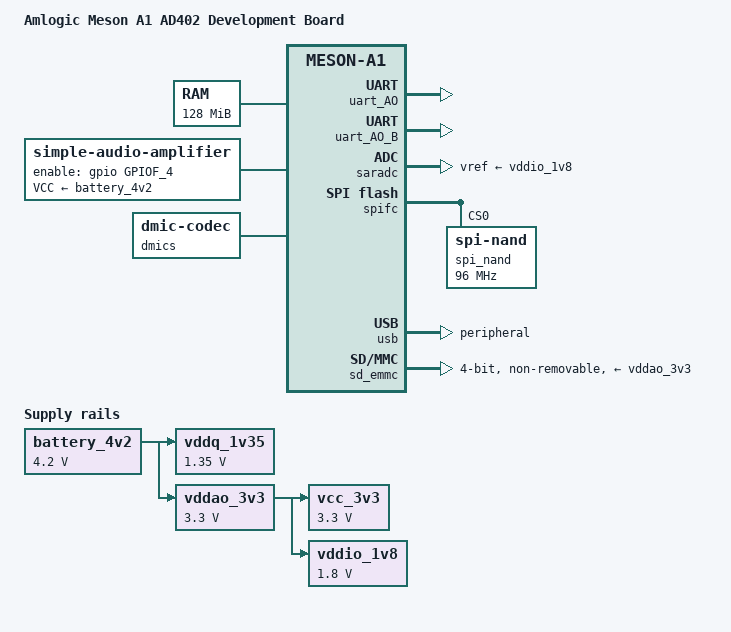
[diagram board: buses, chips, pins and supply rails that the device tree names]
// SPDX-License-Identifier: (GPL-2.0+ OR MIT)
/*
 * Copyright (c) 2023 SberDevices
 * Author: Dmitry Rokosov <ddrokosov@sberdevices.ru>
 */

/dts-v1/;

#include "meson-a1.dtsi"

#include <dt-bindings/gpio/gpio.h>

/ {
	compatible = "amlogic,ad402", "amlogic,a1";
	model = "Amlogic Meson A1 AD402 Development Board";

	aliases {
		serial0 = &uart_AO_B;
	};

	chosen {
		stdout-path = "serial0:115200n8";
	};

	memory@0 {
		device_type = "memory";
		reg = <0x0 0x0 0x0 0x8000000>;
	};

	reserved-memory {
		/* 3 MiB reserved for Amlogic Trust OS (BL32) */
		secos_reserved: secos@3d00000 {
			reg = <0x0 0x03d00000 0x0 0x300000>;
			no-map;
		};
	};

	firmware {
		optee {
			compatible = "linaro,optee-tz";
			method = "smc";
		};
	};

	battery_4v2: regulator-battery-4v2 {
		compatible = "regulator-fixed";
		regulator-name = "4V2";
		regulator-min-microvolt = <4200000>;
		regulator-max-microvolt = <4200000>;
		regulator-always-on;
	};

	vddq_1v35: regulator-vddq-1v35 {
		compatible = "regulator-fixed";
		regulator-name = "VDDQ_1V35";
		regulator-min-microvolt = <1350000>;
		regulator-max-microvolt = <1350000>;
		vin-supply = <&battery_4v2>;
		regulator-always-on;
	};

	vddao_3v3: regulator-vddao-3v3 {
		compatible = "regulator-fixed";
		regulator-name = "VDDAO_3V3";
		regulator-min-microvolt = <3300000>;
		regulator-max-microvolt = <3300000>;
		vin-supply = <&battery_4v2>;
		regulator-always-on;
	};

	vcc_3v3: regulator-vcc-3v3 {
		compatible = "regulator-fixed";
		regulator-name = "VCC_3V3";
		regulator-min-microvolt = <3300000>;
		regulator-max-microvolt = <3300000>;
		vin-supply = <&vddao_3v3>;
		regulator-always-on;
	};

	vddio_1v8: regulator-vddio-1v8 {
		compatible = "regulator-fixed";
		regulator-name = "VDDIO_1V8";
		regulator-min-microvolt = <1800000>;
		regulator-max-microvolt = <1800000>;
		vin-supply = <&vddao_3v3>;
		regulator-always-on;
	};

	amplifier: amplifier {
		compatible = "simple-audio-amplifier";
		sound-name-prefix = "AMPLIFIER";
		enable-gpios = <&gpio GPIOF_4 GPIO_ACTIVE_HIGH>;
		VCC-supply = <&battery_4v2>;
	};

	dmics: dmics {
		compatible = "dmic-codec";
		#sound-dai-cells = <0>;
		sound-name-prefix = "MIC";
		num-channels = <4>;
		wakeup-delay-ms = <50>;
	};

	sound {
		compatible = "amlogic,a1-sound-card",
			     "amlogic,axg-sound-card";
		model = "AD402";
		audio-aux-devs = <&tdmout_a>,
				 <&amplifier>,
				 <&tdmin_lb>,
				 <&tdmin_a>;
		audio-routing = "TDMOUT_A IN 0", "FRDDR_A OUT 0",
				"TDM_A Playback", "TDMOUT_A OUT",
				"AMPLIFIER INL", "ACODEC LOLP",
				"AMPLIFIER INR", "ACODEC LORP",

				"TODDR_A IN 4", "PDM Capture",

				"TDMIN_A IN 3", "TDM_A Capture",
				"TODDR_B IN 0", "TDMIN_A OUT",

				"TDMIN_LB IN 0", "TDM_A Loopback",
				"TODDR_A IN 6", "TDMIN_LB OUT",
				"TDMIN_LB IN 0", "TDM_A Loopback",
				"TODDR_B IN 6", "TDMIN_LB OUT";

		dai-link-0 {
			link-name = "speaker";
			sound-dai = <&frddr_a>;
		};

		dai-link-1 {
			link-name = "dmics";
			sound-dai = <&toddr_a>;
		};

		dai-link-2 {
			link-name = "amics";
			sound-dai = <&toddr_b>;
		};

		dai-link-3 {
			sound-dai = <&tdmif_a>;
			dai-format = "i2s";
			dai-tdm-slot-tx-mask-0 = <1 1>;
			dai-tdm-slot-rx-mask-0 = <1 1>;
			mclk-fs = <256>;

			codec-0 {
				sound-dai = <&toacodec TOACODEC_IN_A>;
			};

			codec-1 {
				sound-dai = <&toacodec TOACODEC_CAPTURE_OUT_A>;
			};
		};

		dai-link-4 {
			sound-dai = <&toacodec TOACODEC_OUT>;

			codec {
				sound-dai = <&acodec>;
			};
		};

		dai-link-5 {
			sound-dai = <&toacodec TOACODEC_CAPTURE_IN>;

			codec {
				sound-dai = <&acodec>;
			};
		};

		dai-link-6 {
			sound-dai = <&pdm>;

			codec {
				sound-dai = <&dmics>;
			};
		};
	};
};

/* Bluetooth HCI H4 */
&uart_AO {
	status = "okay";
	pinctrl-0 = <&uart_a_pins>, <&uart_a_cts_rts_pins>;
	pinctrl-names = "default";
};

&uart_AO_B {
	status = "okay";
};

&saradc {
	status = "okay";
	vref-supply = <&vddio_1v8>;
};

&spifc {
	status = "okay";
	pinctrl-0 = <&spifc_pins>;
	pinctrl-names = "default";

	spi_nand@0 {
		compatible = "spi-nand";
		status = "okay";
		reg = <0>;
		spi-max-frequency = <96000000>;
		spi-tx-bus-width = <4>;
		spi-rx-bus-width = <4>;
	};
};

&usb2_phy1 {
	phy-supply = <&vcc_3v3>;
};

&usb {
	status = "okay";
	dr_mode = "peripheral";
};

&sd_emmc {
	status = "okay";

	#address-cells = <1>;
	#size-cells = <0>;

	pinctrl-0 = <&sdio_pins>;
	pinctrl-1 = <&sdio_clk_gate_pins>;
	pinctrl-names = "default", "clk-gate";

	bus-width = <4>;
	cap-sd-highspeed;
	sd-uhs-sdr104;
	max-frequency = <200000000>;
	non-removable;
	disable-wp;

	vmmc-supply = <&vddao_3v3>;
	vqmmc-supply = <&vddio_1v8>;
};

&clkc_audio {
	assigned-clocks = <&clkc_pll CLKID_HIFI_PLL>,
			  <&clkc_audio AUD_CLKID_MST_A_MCLK_SEL>,
			  <&clkc_audio AUD_CLKID_MST_A_MCLK>,
			  <&clkc_audio AUD2_CLKID_PDM_SYSCLK_SEL>,
			  <&clkc_audio AUD2_CLKID_PDM_DCLK_SEL>;
	assigned-clock-parents = <0>,
				 <&clkc_pll CLKID_HIFI_PLL>,
				 <0>,
				 <&clkc_pll CLKID_FCLK_DIV3>,
				 <&clkc_pll CLKID_FCLK_DIV2>;
	assigned-clock-rates = <614400000>,
			       <0>,
			       <12288000>,
			       <512000000>,
			       <768000000>;
};

&acodec {
	AVDD-supply = <&vddio_1v8>;
};

&pdm {
	sysrate = <256000000>;
	pinctrl-0 = <&pdm_din0_a_pins>,
		    <&pdm_din1_a_pins>,
		    <&pdm_dclk_a_pins>;
	pinctrl-names = "default";
};
